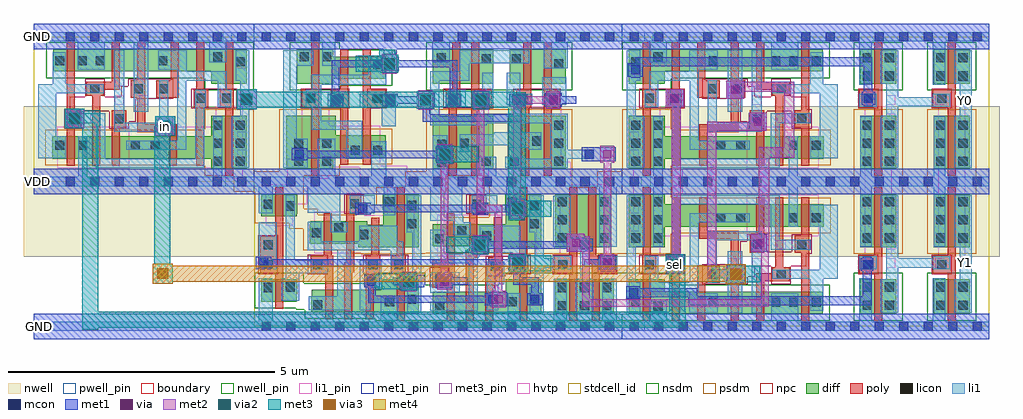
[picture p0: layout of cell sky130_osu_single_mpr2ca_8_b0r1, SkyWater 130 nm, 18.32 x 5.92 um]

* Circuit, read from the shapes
.subckt sky130_osu_single_mpr2ca_8_b0r1 GND VDD VNB VPB Y0 Y1 in sel
XM1 GND sel n1 VNB sky130_fd_pr__nfet_01v8 w=0.42 l=0.15
XM2 n2 n1 GND VNB sky130_fd_pr__nfet_01v8 w=0.42 l=0.15
XM3 n3 GND n2 VNB sky130_fd_pr__nfet_01v8 w=0.42 l=0.15
XM4 n4 in n3 VNB sky130_fd_pr__nfet_01v8 w=0.42 l=0.15
XM5 GND sel n4 VNB sky130_fd_pr__nfet_01v8 w=0.42 l=0.15
XM6 scs130hd_mpr2ca_8_7/A0 n3 GND VNB sky130_fd_pr__nfet_01v8 w=0.65 l=0.15
XM7 n5 scs130hd_mpr2ca_8_7/R3 GND VNB sky130_fd_pr__nfet_01v8 w=0.42 l=0.15
XM8 GND n6 scs130hd_mpr2ca_8_7/R0 VNB sky130_fd_pr__nfet_01v8 w=0.65 l=0.15
XM9 n7 n5 n8 VNB sky130_fd_pr__nfet_01v8 w=0.42 l=0.15
XM10 n9 GND GND VNB sky130_fd_pr__nfet_01v8 w=0.42 l=0.15
XM11 n10 scs130hd_mpr2ca_8_7/A0 n7 VNB sky130_fd_pr__nfet_01v8 w=0.42 l=0.15
XM12 n6 scs130hd_mpr2ca_8_7/A0 n9 VNB sky130_fd_pr__nfet_01v8 w=0.42 l=0.15
XM13 GND scs130hd_mpr2ca_8_7/A0 n10 VNB sky130_fd_pr__nfet_01v8 w=0.42 l=0.15
XM14 n11 n8 GND VNB sky130_fd_pr__nfet_01v8 w=0.645 l=0.1512
XM15 n12 scs130hd_mpr2ca_8_7/R0 n13 VNB sky130_fd_pr__nfet_01v8 w=0.42 l=0.15
XM16 n14 GND GND VNB sky130_fd_pr__nfet_01v8 w=0.65 l=0.15
XM17 n15 scs130hd_mpr2ca_8_7/A0 n12 VNB sky130_fd_pr__nfet_01v8 w=0.42 l=0.15
XM18 n16 scs130hd_mpr2ca_8_7/A0 n14 VNB sky130_fd_pr__nfet_01v8 w=0.65 l=0.15
XM19 GND scs130hd_mpr2ca_8_7/A0 n15 VNB sky130_fd_pr__nfet_01v8 w=0.42 l=0.15
XM20 scs130hd_mpr2ca_8_7/R3 n13 GND VNB sky130_fd_pr__nfet_01v8 w=0.65 l=0.15
XM21 n17 scs130hd_mpr2ca_8_7/A0 n16 VNB sky130_fd_pr__nfet_01v8 w=0.65 l=0.15
XM22 GND scs130hd_mpr2ca_8_7/A0 n17 VNB sky130_fd_pr__nfet_01v8 w=0.65 l=0.15
XM23 sky130_fd_sc_hd__mux2_1_2/A0 scs130hd_mpr2ca_8_7/R3 GND VNB sky130_fd_pr__nfet_01v8 w=0.65 l=0.15
XM24 GND n16 sky130_fd_sc_hd__mux2_1_2/A0 VNB sky130_fd_pr__nfet_01v8 w=0.65 l=0.15
XM25 GND n18 sky130_fd_sc_hd__inv_1_3/A VNB sky130_fd_pr__nfet_01v8 w=0.65 l=0.15
XM26 GND n19 sky130_fd_sc_hd__inv_1_5/A VNB sky130_fd_pr__nfet_01v8 w=0.65 l=0.15
XM27 n20 sel GND VNB sky130_fd_pr__nfet_01v8 w=0.42 l=0.15
XM28 n21 sel GND VNB sky130_fd_pr__nfet_01v8 w=0.42 l=0.15
XM29 n18 sky130_fd_sc_hd__mux2_1_2/A0 n20 VNB sky130_fd_pr__nfet_01v8 w=0.42 l=0.15
XM30 n19 in n21 VNB sky130_fd_pr__nfet_01v8 w=0.42 l=0.15
XM31 n22 in n18 VNB sky130_fd_pr__nfet_01v8 w=0.42 l=0.15
XM32 n23 sky130_fd_sc_hd__mux2_1_2/A0 n19 VNB sky130_fd_pr__nfet_01v8 w=0.42 l=0.15
XM33 GND n24 n22 VNB sky130_fd_pr__nfet_01v8 w=0.42 l=0.15
XM34 GND n25 n23 VNB sky130_fd_pr__nfet_01v8 w=0.42 l=0.15
XM35 n24 sel GND VNB sky130_fd_pr__nfet_01v8 w=0.42 l=0.15
XM36 n25 sel GND VNB sky130_fd_pr__nfet_01v8 w=0.42 l=0.15
XM37 sky130_fd_sc_hd__inv_1_6/A sky130_fd_sc_hd__inv_1_3/A GND VNB sky130_fd_pr__nfet_01v8 w=0.65 l=0.15
XM38 sky130_fd_sc_hd__inv_1_4/A sky130_fd_sc_hd__inv_1_5/A GND VNB sky130_fd_pr__nfet_01v8 w=0.65 l=0.15
XM39 Y1 sky130_fd_sc_hd__inv_1_6/A GND VNB sky130_fd_pr__nfet_01v8 w=0.65 l=0.15
XM40 Y0 sky130_fd_sc_hd__inv_1_4/A GND VNB sky130_fd_pr__nfet_01v8 w=0.65 l=0.15
XM41 VDD sel n1 VPB sky130_fd_pr__pfet_01v8_hvt w=0.42 l=0.15
XM42 n26 n1 VDD VPB sky130_fd_pr__pfet_01v8_hvt w=0.42 l=0.15
XM43 n3 in n26 VPB sky130_fd_pr__pfet_01v8_hvt w=0.42 l=0.15
XM44 n27 GND n3 VPB sky130_fd_pr__pfet_01v8_hvt w=0.42 l=0.15
XM45 VDD sel n27 VPB sky130_fd_pr__pfet_01v8_hvt w=0.42 l=0.15
XM46 scs130hd_mpr2ca_8_7/A0 n3 VDD VPB sky130_fd_pr__pfet_01v8_hvt w=1 l=0.15
XM47 n5 scs130hd_mpr2ca_8_7/R3 VDD VPB sky130_fd_pr__pfet_01v8_hvt w=0.42 l=0.15
XM48 VDD n6 scs130hd_mpr2ca_8_7/R0 VPB sky130_fd_pr__pfet_01v8_hvt w=1 l=0.15
XM49 VDD n5 n8 VPB sky130_fd_pr__pfet_01v8_hvt w=0.42 l=0.15
XM50 n6 GND VDD VPB sky130_fd_pr__pfet_01v8_hvt w=0.42 l=0.15
XM51 n8 scs130hd_mpr2ca_8_7/A0 VDD VPB sky130_fd_pr__pfet_01v8_hvt w=0.42 l=0.15 m=2
XM52 VDD scs130hd_mpr2ca_8_7/A0 n6 VPB sky130_fd_pr__pfet_01v8_hvt w=0.42 l=0.15
XM53 n11 n8 VDD VPB sky130_fd_pr__pfet_01v8_hvt w=1 l=0.15
XM54 VDD scs130hd_mpr2ca_8_7/R0 n13 VPB sky130_fd_pr__pfet_01v8_hvt w=0.42 l=0.15
XM55 n28 GND VDD VPB sky130_fd_pr__pfet_01v8_hvt w=1 l=0.15
XM56 n13 scs130hd_mpr2ca_8_7/A0 VDD VPB sky130_fd_pr__pfet_01v8_hvt w=0.42 l=0.15 m=2
XM57 VDD scs130hd_mpr2ca_8_7/A0 n28 VPB sky130_fd_pr__pfet_01v8_hvt w=1 l=0.15
XM58 scs130hd_mpr2ca_8_7/R3 n13 VDD VPB sky130_fd_pr__pfet_01v8_hvt w=1 l=0.15
XM59 n28 scs130hd_mpr2ca_8_7/A0 n16 VPB sky130_fd_pr__pfet_01v8_hvt w=1 l=0.15 m=2
XM60 n29 scs130hd_mpr2ca_8_7/R3 sky130_fd_sc_hd__mux2_1_2/A0 VPB sky130_fd_pr__pfet_01v8_hvt w=1 l=0.15
XM61 VDD n16 n29 VPB sky130_fd_pr__pfet_01v8_hvt w=1 l=0.15
XM62 VDD n18 sky130_fd_sc_hd__inv_1_3/A VPB sky130_fd_pr__pfet_01v8_hvt w=1 l=0.15
XM63 VDD n19 sky130_fd_sc_hd__inv_1_5/A VPB sky130_fd_pr__pfet_01v8_hvt w=1 l=0.15
XM64 n30 sel VDD VPB sky130_fd_pr__pfet_01v8_hvt w=0.42 l=0.15
XM65 n31 sel VDD VPB sky130_fd_pr__pfet_01v8_hvt w=0.42 l=0.15
XM66 n18 in n30 VPB sky130_fd_pr__pfet_01v8_hvt w=0.42 l=0.15
XM67 n19 sky130_fd_sc_hd__mux2_1_2/A0 n31 VPB sky130_fd_pr__pfet_01v8_hvt w=0.42 l=0.15
XM68 n32 sky130_fd_sc_hd__mux2_1_2/A0 n18 VPB sky130_fd_pr__pfet_01v8_hvt w=0.42 l=0.15
XM69 n33 in n19 VPB sky130_fd_pr__pfet_01v8_hvt w=0.42 l=0.15
XM70 VDD n24 n32 VPB sky130_fd_pr__pfet_01v8_hvt w=0.42 l=0.15
XM71 VDD n25 n33 VPB sky130_fd_pr__pfet_01v8_hvt w=0.42 l=0.15
XM72 n24 sel VDD VPB sky130_fd_pr__pfet_01v8_hvt w=0.42 l=0.15
XM73 n25 sel VDD VPB sky130_fd_pr__pfet_01v8_hvt w=0.42 l=0.15
XM74 sky130_fd_sc_hd__inv_1_6/A sky130_fd_sc_hd__inv_1_3/A VDD VPB sky130_fd_pr__pfet_01v8_hvt w=1 l=0.15
XM75 sky130_fd_sc_hd__inv_1_4/A sky130_fd_sc_hd__inv_1_5/A VDD VPB sky130_fd_pr__pfet_01v8_hvt w=1 l=0.15
XM76 Y1 sky130_fd_sc_hd__inv_1_6/A VDD VPB sky130_fd_pr__pfet_01v8_hvt w=1 l=0.15
XM77 Y0 sky130_fd_sc_hd__inv_1_4/A VDD VPB sky130_fd_pr__pfet_01v8_hvt w=1 l=0.15
.ends

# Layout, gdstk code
from math import pi, radians
import gdstk
lib = gdstk.Library(unit=1e-6, precision=1e-09)
def R(c, l, rs):  # rectangles x0, y0, x1, y1
    for r in rs: c.add(gdstk.rectangle(r[:2], r[2:], *l))
def A(c, l, x, y, w, h, nx, ny, dx, dy):  # array of equal rectangles
    R(c, l, [(x+i*dx, y+j*dy, x+i*dx+w, y+j*dy+h) for i in range(nx) for j in range(ny)])
nwell_pin = (64, 16)
nwell = (64, 20)
diff = (65, 20)
poly = (66, 20)
licon = (66, 44)
li1_pin = (67, 16)
li1 = (67, 20)
mcon = (67, 44)
met1_pin = (68, 16)
met1 = (68, 20)
via = (68, 44)
met2 = (69, 20)
via2 = (69, 44)
met3_pin = (70, 16)
met3 = (70, 20)
via3 = (70, 44)
met4 = (71, 20)
hvtp = (78, 44)
stdcell_id = (81, 4)
nsdm = (93, 44)
psdm = (94, 20)
npc = (95, 20)
pwell_pin = (122, 16)
boundary = (235, 4)

sky130_fd_sc_hd__mux2_1 = lib.new_cell('sky130_fd_sc_hd__mux2_1')
R(sky130_fd_sc_hd__mux2_1, nwell_pin, [(0.37,2.635,0.54,2.805), (0.37,2.635,0.54,2.805)])
R(sky130_fd_sc_hd__mux2_1, nwell, [(-0.19,1.305,4.33,2.91), (-0.19,1.305,4.33,2.91)])
R(sky130_fd_sc_hd__mux2_1, diff, [(0.135,0.235,3.775,0.655), (0.135,0.235,3.775,0.655), (0.135,0.655,0.805,0.885), (0.135,0.655,0.805,0.885), (0.135,1.485,0.805,1.87), (0.135,1.485,0.805,1.87), (0.135,1.87,3.795,2.29), (0.135,1.87,3.795,2.29), (0.135,2.29,0.805,2.485), (0.135,2.29,0.805,2.485)])
R(sky130_fd_sc_hd__mux2_1, poly, [(0.395,0.105,0.545,0.995), (0.395,0.105,0.545,0.995), (0.94,0.105,1.09,0.995), (0.94,0.105,1.09,0.995), (1.42,0.105,1.57,0.815), (1.42,0.105,1.57,0.815), (2.045,0.105,2.195,0.815), (2.045,0.105,2.195,0.815), (2.525,0.105,2.675,0.845), (2.525,0.105,2.675,0.845), (3.365,0.105,3.515,1.38), (3.365,0.105,3.515,1.38), (1.42,0.815,1.835,1.145), (1.42,0.815,1.835,1.145), (2.045,0.815,2.315,1.145), (2.045,0.815,2.315,1.145), (2.525,0.845,3.155,0.995), (2.525,0.845,3.155,0.995), (0.38,0.995,0.65,1.325), (0.38,0.995,0.65,1.325), (0.86,0.995,1.13,1.325), (0.86,0.995,1.13,1.325), (2.825,0.995,3.155,1.115), (2.825,0.995,3.155,1.115), (2.885,1.115,3.035,2.42), (2.885,1.115,3.035,2.42), (2.045,1.145,2.195,1.645), (2.045,1.145,2.195,1.645), (0.395,1.325,0.545,2.615), (0.395,1.325,0.545,2.615), (0.94,1.325,1.09,2.42), (0.94,1.325,1.09,2.42), (2.405,1.38,2.675,1.71), (2.405,1.38,2.675,1.71), (3.245,1.38,3.515,1.71), (3.245,1.38,3.515,1.71), (1.455,1.645,2.195,1.795), (1.455,1.645,2.195,1.795), (2.525,1.71,2.675,2.42), (2.525,1.71,2.675,2.42), (3.365,1.71,3.515,2.42), (3.365,1.71,3.515,2.42), (1.455,1.795,1.605,2.42), (1.455,1.795,1.605,2.42)])
R(sky130_fd_sc_hd__mux2_1, licon, [(0.595,0.295,0.765,0.465), (0.595,0.295,0.765,0.465), (1.63,0.37,1.8,0.54), (1.63,0.37,1.8,0.54), (2.805,0.37,2.975,0.54), (2.805,0.37,2.975,0.54), (3.145,0.37,3.315,0.54), (3.145,0.37,3.315,0.54), (3.565,0.37,3.735,0.54), (3.565,0.37,3.735,0.54), (0.175,0.39,0.345,0.56), (0.175,0.39,0.345,0.56), (1.615,0.895,1.785,1.065), (1.615,0.895,1.785,1.065), (2.095,0.895,2.265,1.065), (2.095,0.895,2.265,1.065), (2.905,0.895,3.075,1.065), (2.905,0.895,3.075,1.065), (0.43,1.075,0.6,1.245), (0.43,1.075,0.6,1.245), (0.91,1.075,1.08,1.245), (0.91,1.075,1.08,1.245), (2.455,1.46,2.625,1.63), (2.455,1.46,2.625,1.63), (3.295,1.46,3.465,1.63), (3.295,1.46,3.465,1.63), (0.175,1.575,0.345,1.745), (0.175,1.575,0.345,1.745), (0.595,1.575,0.765,1.745), (0.595,1.575,0.765,1.745), (0.175,1.915,0.345,2.085), (0.175,1.915,0.345,2.085), (0.595,1.915,0.765,2.085), (0.595,1.915,0.765,2.085), (1.775,1.955,1.945,2.125), (1.775,1.955,1.945,2.125), (2.15,1.955,2.32,2.125), (2.15,1.955,2.32,2.125), (3.135,1.955,3.305,2.125), (3.135,1.955,3.305,2.125), (3.565,1.955,3.735,2.125), (3.565,1.955,3.735,2.125), (0.175,2.255,0.345,2.425), (0.175,2.255,0.345,2.425), (0.595,2.255,0.765,2.425), (0.595,2.255,0.765,2.425)])
R(sky130_fd_sc_hd__mux2_1, li1_pin, [(0.15,0.425,0.32,0.595), (0.15,0.425,0.32,0.595), (2.45,0.765,2.62,0.935), (2.45,0.765,2.62,0.935), (1.99,1.105,2.16,1.275), (1.99,1.105,2.16,1.275), (2.45,1.105,2.62,1.275), (2.45,1.105,2.62,1.275), (2.91,1.445,3.08,1.615), (2.91,1.445,3.08,1.615), (3.37,1.445,3.54,1.615), (3.37,1.445,3.54,1.615), (0.15,1.785,0.32,1.955), (0.15,1.785,0.32,1.955), (0.15,2.125,0.32,2.295), (0.15,2.125,0.32,2.295)])
R(sky130_fd_sc_hd__mux2_1, li1, [(0,-0.085,4.14,0.085), (0,-0.085,4.14,0.085), (0.515,0.085,0.845,0.485), (0.515,0.085,0.845,0.485), (2.805,0.085,3.315,0.62), (2.805,0.085,3.315,0.62), (0.09,0.255,0.345,0.825), (0.09,0.255,0.345,0.825), (1.27,0.255,1.8,0.62), (1.27,0.255,1.8,0.62), (1.99,0.255,2.265,1.415), (1.99,0.255,2.265,1.415), (2.435,0.255,2.625,1.615), (2.435,0.255,2.625,1.615), (3.535,0.29,3.78,0.895), (3.535,0.29,3.78,0.895), (1.27,0.62,1.445,0.655), (1.27,0.62,1.445,0.655), (0.515,0.655,1.445,0.825), (0.515,0.655,1.445,0.825), (1.615,0.815,1.785,1.615), (1.615,0.815,1.785,1.615), (0.09,0.825,0.26,1.495), (0.09,0.825,0.26,1.495), (0.515,0.825,0.685,0.995), (0.515,0.825,0.685,0.995), (1.275,0.825,1.445,1.955), (1.275,0.825,1.445,1.955), (2.825,0.895,4.055,1.065), (2.825,0.895,4.055,1.065), (0.43,0.995,0.685,1.325), (0.43,0.995,0.685,1.325), (0.91,0.995,1.105,1.325), (0.91,0.995,1.105,1.325), (3.715,1.065,4.055,1.875), (3.715,1.065,4.055,1.875), (0.935,1.325,1.105,2.295), (0.935,1.325,1.105,2.295), (2.795,1.44,3.545,1.63), (2.795,1.44,3.545,1.63), (0.09,1.495,0.425,2.465), (0.09,1.495,0.425,2.465), (0.595,1.495,0.765,2.635), (0.595,1.495,0.765,2.635), (1.615,1.615,2.625,1.785), (1.615,1.615,2.625,1.785), (2.795,1.63,2.965,2.295), (2.795,1.63,2.965,2.295), (3.135,1.875,3.305,2.635), (3.135,1.875,3.305,2.635), (3.54,1.875,4.055,2.285), (3.54,1.875,4.055,2.285), (1.275,1.955,2.4,2.125), (1.275,1.955,2.4,2.125), (0.935,2.295,2.965,2.465), (0.935,2.295,2.965,2.465), (0,2.635,4.14,2.805), (0,2.635,4.14,2.805)])
R(sky130_fd_sc_hd__mux2_1, mcon, [(0.145,-0.085,0.315,0.085), (0.145,-0.085,0.315,0.085), (0.605,-0.085,0.775,0.085), (0.605,-0.085,0.775,0.085), (1.065,-0.085,1.235,0.085), (1.065,-0.085,1.235,0.085), (1.525,-0.085,1.695,0.085), (1.525,-0.085,1.695,0.085), (1.985,-0.085,2.155,0.085), (1.985,-0.085,2.155,0.085), (2.445,-0.085,2.615,0.085), (2.445,-0.085,2.615,0.085), (2.905,-0.085,3.075,0.085), (2.905,-0.085,3.075,0.085), (3.365,-0.085,3.535,0.085), (3.365,-0.085,3.535,0.085), (3.825,-0.085,3.995,0.085), (3.825,-0.085,3.995,0.085), (0.145,2.635,0.315,2.805), (0.145,2.635,0.315,2.805), (0.605,2.635,0.775,2.805), (0.605,2.635,0.775,2.805), (1.065,2.635,1.235,2.805), (1.065,2.635,1.235,2.805), (1.525,2.635,1.695,2.805), (1.525,2.635,1.695,2.805), (1.985,2.635,2.155,2.805), (1.985,2.635,2.155,2.805), (2.445,2.635,2.615,2.805), (2.445,2.635,2.615,2.805), (2.905,2.635,3.075,2.805), (2.905,2.635,3.075,2.805), (3.365,2.635,3.535,2.805), (3.365,2.635,3.535,2.805), (3.825,2.635,3.995,2.805), (3.825,2.635,3.995,2.805)])
R(sky130_fd_sc_hd__mux2_1, met1_pin, [(0,-0.24,4.14,0.24), (0,-0.24,4.14,0.24), (0.15,-0.085,0.32,0.085), (0.15,-0.085,0.32,0.085), (0,2.48,4.14,2.96), (0,2.48,4.14,2.96), (0.15,2.635,0.32,2.805), (0.15,2.635,0.32,2.805)])
R(sky130_fd_sc_hd__mux2_1, met1, [(0,-0.24,4.14,0.24), (0,-0.24,4.14,0.24), (0,2.48,4.14,2.96), (0,2.48,4.14,2.96)])
R(sky130_fd_sc_hd__mux2_1, hvtp, [(0.215,1.305,0.725,1.69), (0.215,1.305,0.725,1.69), (0.215,1.69,1.785,2.47), (0.215,1.69,1.785,2.47), (2.345,1.69,3.695,2.47), (2.345,1.69,3.695,2.47), (0.215,2.47,0.725,2.665), (0.215,2.47,0.725,2.665)])
R(sky130_fd_sc_hd__mux2_1, stdcell_id, [(0,0,4.14,2.72), (0,0,4.14,2.72)])
R(sky130_fd_sc_hd__mux2_1, nsdm, [(0.01,0.11,3.9,0.78), (0.01,0.11,3.9,0.78), (0.01,0.78,0.93,1.01), (0.01,0.78,0.93,1.01)])
R(sky130_fd_sc_hd__mux2_1, psdm, [(0.01,1.36,0.93,1.745), (0.01,1.36,0.93,1.745), (0.01,1.745,3.92,2.415), (0.01,1.745,3.92,2.415), (0.01,2.415,0.93,2.61), (0.01,2.415,0.93,2.61)])
R(sky130_fd_sc_hd__mux2_1, npc, [(1.515,0.795,2.365,0.93), (1.515,0.795,2.365,0.93), (2.805,0.795,3.175,1.125), (2.805,0.795,3.175,1.125), (1.515,0.93,2.495,1.125), (1.515,0.93,2.495,1.125), (0.33,0.975,1.18,1.345), (0.33,0.975,1.18,1.345), (1.515,1.125,3.465,1.165), (1.515,1.125,3.465,1.165), (2.225,1.165,3.465,1.36), (2.225,1.165,3.465,1.36), (2.225,1.36,3.565,1.4), (2.225,1.36,3.565,1.4), (2.225,1.4,2.725,1.595), (2.225,1.4,2.725,1.595), (3.195,1.4,3.565,1.73), (3.195,1.4,3.565,1.73), (2.355,1.595,2.725,1.73), (2.355,1.595,2.725,1.73)])
R(sky130_fd_sc_hd__mux2_1, pwell_pin, [(0.42,-0.085,0.59,0.085), (0.42,-0.085,0.59,0.085)])
R(sky130_fd_sc_hd__mux2_1, boundary, [(0,0,4.14,2.72), (0,0,4.14,2.72)])
sky130_fd_sc_hd__mux2_1.add(gdstk.Label('A0', (2.075,1.19), layer=67, texttype=5))
sky130_fd_sc_hd__mux2_1.add(gdstk.Label('A1', (2.535,1.19), layer=67, texttype=5))
sky130_fd_sc_hd__mux2_1.add(gdstk.Label('A1', (2.535,0.85), layer=67, texttype=5))
sky130_fd_sc_hd__mux2_1.add(gdstk.Label('S', (2.995,1.53), layer=67, texttype=5))
sky130_fd_sc_hd__mux2_1.add(gdstk.Label('S', (3.455,1.53), layer=67, texttype=5))
sky130_fd_sc_hd__mux2_1.add(gdstk.Label('VGND', (2.07,0), layer=68, texttype=5))
sky130_fd_sc_hd__mux2_1.add(gdstk.Label('VGND', (0.235,0), layer=68, texttype=5))
sky130_fd_sc_hd__mux2_1.add(gdstk.Label('VNB', (0.505,0), layer=64, texttype=59))
sky130_fd_sc_hd__mux2_1.add(gdstk.Label('VPB', (0.455,2.72), layer=64, texttype=5))
sky130_fd_sc_hd__mux2_1.add(gdstk.Label('VPWR', (2.07,2.72), layer=68, texttype=5))
sky130_fd_sc_hd__mux2_1.add(gdstk.Label('VPWR', (0.235,2.72), layer=68, texttype=5))
sky130_fd_sc_hd__mux2_1.add(gdstk.Label('X', (0.235,2.21), layer=67, texttype=5))
sky130_fd_sc_hd__mux2_1.add(gdstk.Label('X', (0.235,1.87), layer=67, texttype=5))
sky130_fd_sc_hd__mux2_1.add(gdstk.Label('X', (0.235,0.51), layer=67, texttype=5))
sky130_fd_sc_hd__mux2_1.add(gdstk.Label('A0', (2.075,1.19), layer=67, texttype=5))
sky130_fd_sc_hd__mux2_1.add(gdstk.Label('A1', (2.535,1.19), layer=67, texttype=5))
sky130_fd_sc_hd__mux2_1.add(gdstk.Label('A1', (2.535,0.85), layer=67, texttype=5))
sky130_fd_sc_hd__mux2_1.add(gdstk.Label('S', (2.995,1.53), layer=67, texttype=5))
sky130_fd_sc_hd__mux2_1.add(gdstk.Label('S', (3.455,1.53), layer=67, texttype=5))
sky130_fd_sc_hd__mux2_1.add(gdstk.Label('VGND', (2.07,0), layer=68, texttype=5))
sky130_fd_sc_hd__mux2_1.add(gdstk.Label('VGND', (0.235,0), layer=68, texttype=5))
sky130_fd_sc_hd__mux2_1.add(gdstk.Label('VNB', (0.505,0), layer=64, texttype=59))
sky130_fd_sc_hd__mux2_1.add(gdstk.Label('VPB', (0.455,2.72), layer=64, texttype=5))
sky130_fd_sc_hd__mux2_1.add(gdstk.Label('VPWR', (2.07,2.72), layer=68, texttype=5))
sky130_fd_sc_hd__mux2_1.add(gdstk.Label('VPWR', (0.235,2.72), layer=68, texttype=5))
sky130_fd_sc_hd__mux2_1.add(gdstk.Label('X', (0.235,2.21), layer=67, texttype=5))
sky130_fd_sc_hd__mux2_1.add(gdstk.Label('X', (0.235,1.87), layer=67, texttype=5))
sky130_fd_sc_hd__mux2_1.add(gdstk.Label('X', (0.235,0.51), layer=67, texttype=5))

sky130_fd_sc_hd__inv_1 = lib.new_cell('sky130_fd_sc_hd__inv_1')
R(sky130_fd_sc_hd__inv_1, nwell_pin, [(0.145,2.635,0.315,2.805), (0.145,2.635,0.315,2.805)])
R(sky130_fd_sc_hd__inv_1, nwell, [(-0.19,1.305,1.57,2.91), (-0.19,1.305,1.57,2.91)])
R(sky130_fd_sc_hd__inv_1, diff, [(0.34,0.235,1.01,0.885), (0.34,0.235,1.01,0.885), (0.34,1.485,1.01,2.485), (0.34,1.485,1.01,2.485)])
R(sky130_fd_sc_hd__inv_1, poly, [(0.6,0.105,0.75,0.995), (0.6,0.105,0.75,0.995), (0.32,0.995,0.75,1.325), (0.32,0.995,0.75,1.325), (0.6,1.325,0.75,2.615), (0.6,1.325,0.75,2.615)])
R(sky130_fd_sc_hd__inv_1, licon, [(0.38,0.315,0.55,0.485), (0.38,0.315,0.55,0.485), (0.8,0.315,0.97,0.485), (0.8,0.315,0.97,0.485), (0.38,0.655,0.55,0.825), (0.38,0.655,0.55,0.825), (0.8,0.655,0.97,0.825), (0.8,0.655,0.97,0.825), (0.4,1.075,0.57,1.245), (0.4,1.075,0.57,1.245), (0.38,1.575,0.55,1.745), (0.38,1.575,0.55,1.745), (0.8,1.575,0.97,1.745), (0.8,1.575,0.97,1.745), (0.38,1.915,0.55,2.085), (0.38,1.915,0.55,2.085), (0.8,1.915,0.97,2.085), (0.8,1.915,0.97,2.085), (0.38,2.255,0.55,2.425), (0.38,2.255,0.55,2.425), (0.8,2.255,0.97,2.425), (0.8,2.255,0.97,2.425)])
R(sky130_fd_sc_hd__inv_1, li1_pin, [(0.36,1.105,0.53,1.275), (0.36,1.105,0.53,1.275), (0.82,1.105,0.99,1.275), (0.82,1.105,0.99,1.275), (0.82,1.445,0.99,1.615), (0.82,1.445,0.99,1.615)])
R(sky130_fd_sc_hd__inv_1, li1, [(0,-0.085,1.38,0.085), (0,-0.085,1.38,0.085), (0.32,0.085,0.55,0.905), (0.32,0.085,0.55,0.905), (0.72,0.255,1.05,0.885), (0.72,0.255,1.05,0.885), (0.82,0.885,1.05,1.485), (0.82,0.885,1.05,1.485), (0.32,1.075,0.65,1.315), (0.32,1.075,0.65,1.315), (0.72,1.485,1.05,2.465), (0.72,1.485,1.05,2.465), (0.34,1.495,0.55,2.635), (0.34,1.495,0.55,2.635), (0,2.635,1.38,2.805), (0,2.635,1.38,2.805)])
R(sky130_fd_sc_hd__inv_1, mcon, [(0.145,-0.085,0.315,0.085), (0.145,-0.085,0.315,0.085), (0.605,-0.085,0.775,0.085), (0.605,-0.085,0.775,0.085), (1.065,-0.085,1.235,0.085), (1.065,-0.085,1.235,0.085), (0.145,2.635,0.315,2.805), (0.145,2.635,0.315,2.805), (0.605,2.635,0.775,2.805), (0.605,2.635,0.775,2.805), (1.065,2.635,1.235,2.805), (1.065,2.635,1.235,2.805)])
R(sky130_fd_sc_hd__inv_1, met1_pin, [(0,-0.24,1.38,0.24), (0,-0.24,1.38,0.24), (0.145,-0.085,0.315,0.085), (0.145,-0.085,0.315,0.085), (0,2.48,1.38,2.96), (0,2.48,1.38,2.96), (0.145,2.635,0.315,2.805), (0.145,2.635,0.315,2.805)])
R(sky130_fd_sc_hd__inv_1, met1, [(0,-0.24,1.38,0.24), (0,-0.24,1.38,0.24), (0,2.48,1.38,2.96), (0,2.48,1.38,2.96)])
R(sky130_fd_sc_hd__inv_1, hvtp, [(0.42,1.305,0.93,2.665), (0.42,1.305,0.93,2.665)])
R(sky130_fd_sc_hd__inv_1, stdcell_id, [(0,0,1.38,2.72), (0,0,1.38,2.72)])
R(sky130_fd_sc_hd__inv_1, nsdm, [(0.215,0.11,1.135,1.01), (0.215,0.11,1.135,1.01)])
R(sky130_fd_sc_hd__inv_1, psdm, [(0.215,1.36,1.135,2.61), (0.215,1.36,1.135,2.61)])
R(sky130_fd_sc_hd__inv_1, npc, [(0.3,0.975,0.67,1.345), (0.3,0.975,0.67,1.345)])
R(sky130_fd_sc_hd__inv_1, pwell_pin, [(0.145,-0.085,0.315,0.085), (0.145,-0.085,0.315,0.085)])
R(sky130_fd_sc_hd__inv_1, boundary, [(0,0,1.38,2.72), (0,0,1.38,2.72)])
sky130_fd_sc_hd__inv_1.add(gdstk.Label('A', (0.445,1.19), layer=67, texttype=5))
sky130_fd_sc_hd__inv_1.add(gdstk.Label('VGND', (0.69,0), layer=68, texttype=5))
sky130_fd_sc_hd__inv_1.add(gdstk.Label('VGND', (0.23,0), layer=68, texttype=5))
sky130_fd_sc_hd__inv_1.add(gdstk.Label('VNB', (0.23,0), layer=64, texttype=59))
sky130_fd_sc_hd__inv_1.add(gdstk.Label('VPB', (0.23,2.72), layer=64, texttype=5))
sky130_fd_sc_hd__inv_1.add(gdstk.Label('VPWR', (0.69,2.72), layer=68, texttype=5))
sky130_fd_sc_hd__inv_1.add(gdstk.Label('VPWR', (0.23,2.72), layer=68, texttype=5))
sky130_fd_sc_hd__inv_1.add(gdstk.Label('Y', (0.905,1.19), layer=67, texttype=5))
sky130_fd_sc_hd__inv_1.add(gdstk.Label('Y', (0.905,1.53), layer=67, texttype=5))
sky130_fd_sc_hd__inv_1.add(gdstk.Label('A', (0.445,1.19), layer=67, texttype=5))
sky130_fd_sc_hd__inv_1.add(gdstk.Label('VGND', (0.69,0), layer=68, texttype=5))
sky130_fd_sc_hd__inv_1.add(gdstk.Label('VGND', (0.23,0), layer=68, texttype=5))
sky130_fd_sc_hd__inv_1.add(gdstk.Label('VNB', (0.23,0), layer=64, texttype=59))
sky130_fd_sc_hd__inv_1.add(gdstk.Label('VPB', (0.23,2.72), layer=64, texttype=5))
sky130_fd_sc_hd__inv_1.add(gdstk.Label('VPWR', (0.69,2.72), layer=68, texttype=5))
sky130_fd_sc_hd__inv_1.add(gdstk.Label('VPWR', (0.23,2.72), layer=68, texttype=5))
sky130_fd_sc_hd__inv_1.add(gdstk.Label('Y', (0.905,1.19), layer=67, texttype=5))
sky130_fd_sc_hd__inv_1.add(gdstk.Label('Y', (0.905,1.53), layer=67, texttype=5))

scs130hd_mpr2ca_8 = lib.new_cell('scs130hd_mpr2ca_8')
R(scs130hd_mpr2ca_8, nwell, [(-0.19,1.305,7.09,4.135)])
R(scs130hd_mpr2ca_8, diff, [(2.41,0.235,3.085,0.265), (3.355,0.235,5.385,0.655), (5.655,0.235,6.745,0.885), (1.07,0.265,3.085,0.545), (0.135,0.465,0.795,0.6), (1.075,0.545,3.085,0.55), (1.08,0.55,3.085,0.685), (0.135,0.6,0.805,0.885), (4.725,0.655,5.385,0.885), (2.395,0.685,3.085,0.88), (2.395,0.88,2.625,0.885), (2.675,0.88,2.825,0.885), (3.08,0.88,3.085,0.885), (1.95,1.485,3.085,1.555), (4.725,1.485,5.385,1.5), (5.655,1.485,6.685,2.485), (3.355,1.5,5.385,1.92), (1.045,1.555,3.085,1.905), (1.055,1.905,2.125,1.975), (2.425,1.905,3.085,2.19), (4.725,1.92,5.385,2.19), (0.135,2.065,0.795,2.115), (0.135,2.115,0.805,2.485), (2.415,2.19,3.085,2.485), (4.715,2.19,5.385,2.485), (0.6,2.955,1.485,3.165), (3.355,2.955,4.485,3.955), (4.755,2.955,5.845,3.955), (0.6,3.165,2.465,3.585), (0.6,3.585,1.535,3.955), (0.795,4.555,1.485,4.645), (3.355,4.555,4.485,5.205), (4.795,4.555,5.845,5.205), (0.795,4.645,2.465,5.065), (0.795,5.065,1.485,5.205)])
R(scs130hd_mpr2ca_8, poly, [(2.675,0.105,2.825,0.99), (3.615,0.105,3.765,0.73), (3.975,0.105,4.125,1.285), (4.335,0.105,4.485,0.73), (4.975,0.105,5.125,0.995), (5.915,0.105,6.065,0.995), (6.335,0.105,6.485,0.995), (1.33,0.135,1.48,0.995), (1.69,0.135,1.84,1.015), (2.095,0.135,2.245,0.995), (0.395,0.335,0.545,0.995), (3.345,0.73,3.765,1.255), (4.335,0.73,4.52,0.85), (4.335,0.85,4.545,0.965), (4.335,0.965,4.665,1.13), (2.625,0.99,2.845,0.995), (0.11,0.995,0.545,1.695), (1.06,0.995,1.48,1.325), (2.095,0.995,2.365,1.325), (2.575,0.995,2.845,1.055), (4.875,0.995,5.145,1.325), (5.63,0.995,6.065,1.325), (6.335,0.995,6.795,1.175), (1.69,1.015,1.875,1.2), (2.575,1.055,2.625,1.06), (2.575,1.06,2.845,1.325), (4.395,1.13,4.665,1.295), (6.275,1.175,6.795,1.325), (1.725,1.2,1.875,2.135), (3.615,1.255,3.765,2.125), (3.975,1.285,4.185,1.41), (4.5,1.295,4.65,2.05), (1.305,1.325,1.455,2.125), (2.2,1.325,2.35,2.035), (2.675,1.325,2.825,2.615), (4.975,1.325,5.125,2.615), (5.915,1.325,6.065,2.615), (6.275,1.325,6.425,2.615), (4.035,1.41,4.185,2.13), (0.395,1.695,0.545,2.615), (4.035,2.13,4.305,2.46), (1.725,2.135,2.01,2.5), (1.075,2.825,1.225,4.115), (3.655,2.825,3.805,4.115), (4.075,2.825,4.225,4.115), (5.015,2.825,5.165,4.115), (5.435,2.825,5.585,4.115), (1.615,3.035,1.765,4.115), (2.035,3.035,2.185,4.115), (0.895,4.115,1.225,4.445), (1.435,4.115,1.765,4.445), (2.035,4.115,2.47,4.445), (3.595,4.115,3.865,4.445), (4.075,4.115,4.46,4.445), (4.915,4.115,5.205,4.445), (5.435,4.115,5.705,4.445), (1.075,4.445,1.225,5.335), (1.615,4.445,1.765,5.195), (2.035,4.445,2.185,5.195), (3.715,4.445,3.865,5.335), (4.075,4.445,4.225,5.335), (5.055,4.445,5.205,5.335), (5.435,4.445,5.585,5.335)])
A(scs130hd_mpr2ca_8, licon, 5.695, 0.305, 0.17, 0.17, 3, 2, 0.42, 0.34)
A(scs130hd_mpr2ca_8, licon, 5.695, 1.575, 0.17, 0.17, 1, 3, 0, 0.34)
A(scs130hd_mpr2ca_8, licon, 6.475, 1.575, 0.17, 0.17, 1, 3, 0, 0.34)
A(scs130hd_mpr2ca_8, licon, 5.635, 3.015, 0.17, 0.17, 1, 3, 0, 0.34)
R(scs130hd_mpr2ca_8, licon, [(3.395,0.295,3.565,0.465), (1.11,0.325,1.28,0.495), (2.455,0.375,2.625,0.545), (4.755,0.375,4.925,0.545), (2.875,0.425,3.045,0.595), (5.175,0.425,5.345,0.595), (0.175,0.645,0.345,0.815), (0.595,0.655,0.765,0.825), (3.395,0.845,3.565,1.015), (4.445,1.045,4.615,1.215), (0.175,1.075,0.345,1.245), (1.11,1.075,1.28,1.245), (2.145,1.075,2.315,1.245), (2.625,1.075,2.795,1.245), (4.925,1.075,5.095,1.245), (5.705,1.075,5.875,1.245), (6.545,1.075,6.715,1.245), (0.175,1.445,0.345,1.615), (3.395,1.56,3.565,1.73), (4.28,1.615,4.45,1.785), (1.975,1.64,2.145,1.81), (1.085,1.675,1.255,1.845), (3.815,1.71,3.985,1.88), (1.505,1.765,1.675,1.935), (2.875,1.845,3.045,2.015), (5.175,1.845,5.345,2.015), (0.595,2.175,0.765,2.345), (2.875,2.185,3.045,2.355), (5.175,2.185,5.345,2.355), (0.175,2.205,0.345,2.375), (4.085,2.21,4.255,2.38), (1.79,2.215,1.96,2.385), (2.455,2.255,2.625,2.425), (4.755,2.255,4.925,2.425), (3.435,2.995,3.605,3.165), (0.755,3.015,0.925,3.185), (1.275,3.015,1.445,3.185), (4.275,3.015,4.445,3.185), (4.795,3.015,4.965,3.185), (1.815,3.225,1.985,3.395), (2.235,3.225,2.405,3.395), (3.435,3.335,3.605,3.505), (0.755,3.355,0.925,3.525), (1.275,3.355,1.445,3.525), (3.855,3.355,4.025,3.525), (5.215,3.395,5.385,3.565), (0.975,4.195,1.145,4.365), (1.515,4.195,1.685,4.365), (2.22,4.195,2.39,4.365), (3.645,4.195,3.815,4.365), (4.22,4.195,4.39,4.365), (4.965,4.195,5.135,4.365), (5.485,4.195,5.655,4.365), (2.235,4.835,2.405,5.005), (5.635,4.845,5.805,5.015), (4.275,4.935,4.445,5.105), (4.835,4.935,5.005,5.105), (3.425,4.955,3.595,5.125), (0.855,4.975,1.025,5.145), (1.275,4.975,1.445,5.145)])
A(scs130hd_mpr2ca_8, li1, 0, -0.085, 6.9, 0.17, 1, 3, 0, 2.72)
R(scs130hd_mpr2ca_8, li1, [(0.085,0.085,0.345,0.905), (2.375,0.085,2.705,0.545), (4.755,0.085,5.005,0.625), (5.625,0.085,5.865,0.895), (6.535,0.085,6.805,0.895), (2.875,0.255,3.135,0.73), (5.175,0.255,5.435,0.735), (6.035,0.255,6.365,0.895), (3.305,0.295,4.195,0.465), (1.025,0.305,1.815,0.57), (1.985,0.305,2.185,0.725), (4.365,0.305,4.585,0.79), (4.025,0.465,4.195,1.19), (0.515,0.485,0.845,0.905), (1.56,0.57,1.815,1.425), (3.305,0.635,3.855,1.02), (1.985,0.725,2.395,1.245), (2.965,0.73,3.135,1.055), (5.265,0.735,5.435,1.105), (4.365,0.79,4.695,1.215), (6.125,0.895,6.295,1.495), (0.595,0.905,0.845,0.995), (2.625,0.99,2.795,0.995), (4.865,0.99,5.095,1.385), (0.595,0.995,1.39,1.245), (2.565,0.995,2.795,1.055), (2.565,1.055,2.625,1.06), (3.08,1.055,3.135,1.06), (2.565,1.06,2.795,1.425), (2.965,1.06,3.135,1.765), (0.085,1.075,0.425,1.955), (5.605,1.075,5.955,1.105), (6.465,1.075,6.815,1.325), (5.265,1.105,5.955,1.275), (3.305,1.19,4.195,1.26), (0.595,1.245,0.765,2.465), (3.305,1.26,4.2,1.285), (5.265,1.275,5.435,1.765), (5.605,1.275,5.955,1.325), (3.305,1.285,4.21,1.3), (3.305,1.3,4.215,1.315), (3.305,1.315,4.225,1.32), (3.305,1.32,4.23,1.33), (3.305,1.33,4.235,1.34), (3.305,1.34,4.245,1.345), (3.305,1.345,4.255,1.355), (3.305,1.355,4.265,1.36), (3.305,1.36,3.565,1.81), (3.93,1.36,4.265,1.365), (3.93,1.365,4.28,1.37), (3.93,1.37,4.295,1.38), (3.93,1.38,4.32,1.385), (3.93,1.385,5.095,1.39), (3.96,1.39,5.095,1.425), (1.005,1.425,2.795,1.595), (3.995,1.425,5.095,1.45), (4.025,1.45,5.095,1.48), (4.045,1.48,5.095,1.51), (5.615,1.495,6.295,1.665), (6.475,1.495,6.805,2.635), (4.065,1.51,5.095,1.54), (4.135,1.54,5.095,1.55), (4.16,1.55,5.095,1.56), (4.18,1.56,5.095,1.575), (4.2,1.575,5.095,1.59), (4.205,1.59,4.99,1.6), (1.005,1.595,1.255,1.96), (1.975,1.595,2.69,1.89), (4.22,1.6,4.99,1.635), (4.235,1.635,4.99,1.885), (5.615,1.665,5.945,2.45), (3.735,1.71,4.065,1.955), (1.425,1.765,1.755,1.955), (2.86,1.765,3.135,2.465), (5.16,1.765,5.435,2.465), (1.425,1.955,1.62,2.13), (3.735,1.955,3.92,1.98), (3.305,1.98,3.92,2.08), (3.305,2.08,3.91,2.635), (2.435,2.09,2.65,2.635), (4.735,2.09,4.99,2.635), (0.085,2.125,0.345,2.635), (1.79,2.125,2.265,2.465), (4.085,2.125,4.565,2.465), (1.005,2.13,1.62,2.635), (1.195,2.805,1.525,3.525), (2.195,2.805,2.475,3.475), (3.355,2.805,3.62,3.585), (4.17,2.805,4.545,3.185), (0.545,2.975,1.005,3.525), (4.715,2.975,5.885,3.145), (1.725,3.145,2.025,3.695), (4.715,3.145,5.045,3.185), (5.555,3.145,6.375,3.315), (3.855,3.275,4.025,3.405), (5.155,3.315,5.385,3.355), (5.555,3.315,5.885,3.815), (4.77,3.355,5.385,3.405), (3.855,3.405,5.385,3.605), (0.545,3.525,0.795,4.895), (4.505,3.605,5.385,3.645), (1.085,3.695,2.025,3.865), (2.395,3.755,2.66,4.115), (3.305,3.775,4.365,3.815), (3.305,3.815,5.885,3.945), (1.085,3.865,1.255,4.115), (3.305,3.945,3.475,4.615), (4.14,3.945,5.885,3.995), (0.965,4.115,1.255,4.445), (1.425,4.115,1.765,4.365), (1.985,4.115,2.66,4.365), (3.645,4.115,3.97,4.445), (4.14,4.165,4.49,4.365), (4.74,4.165,5.215,4.365), (5.405,4.165,5.855,4.675), (4.28,4.365,4.49,4.765), (4.74,4.365,4.99,4.765), (1.085,4.445,1.255,4.535), (1.085,4.535,2.475,4.725), (3.305,4.615,4.035,4.785), (2.145,4.725,2.475,5.085), (3.855,4.785,4.035,4.935), (5.435,4.845,5.885,5.355), (0.545,4.895,1.105,5.185), (1.275,4.895,1.525,5.355), (3.855,4.935,5.16,5.185), (3.345,4.955,3.675,5.355)])
A(scs130hd_mpr2ca_8, mcon, 0.145, -0.085, 0.17, 0.17, 15, 3, 0.46, 2.72)
A(scs130hd_mpr2ca_8, mcon, 4.165, 4.165, 0.17, 0.17, 3, 1, 0.68, 0)
R(scs130hd_mpr2ca_8, mcon, [(4.39,0.425,4.56,0.595), (5.185,0.425,5.355,0.595), (2.125,0.765,2.295,0.935), (3.485,0.765,3.655,0.935), (0.09,1.105,0.26,1.275), (6.545,1.105,6.715,1.275), (6.125,1.445,6.295,1.615), (1.955,2.125,2.125,2.295), (4.165,2.125,4.335,2.295), (0.765,3.145,0.935,3.315), (6.205,3.145,6.375,3.315), (1.445,4.165,1.615,4.335), (2.465,4.165,2.635,4.335), (3.655,4.165,3.825,4.335)])
R(scs130hd_mpr2ca_8, met1_pin, [(2.735,0.68,3.065,1.01)])
A(scs130hd_mpr2ca_8, met1, 0, -0.24, 6.9, 0.48, 1, 3, 0, 2.72)
R(scs130hd_mpr2ca_8, met1, [(4.43,0.38,4.75,0.395), (4.33,0.395,4.75,0.44), (5.125,0.395,5.415,0.625), (2.14,0.44,4.75,0.58), (2.14,0.58,2.28,0.735), (4.33,0.58,4.75,0.625), (4.43,0.625,4.75,0.64), (5.2,0.625,5.34,0.78), (2.73,0.715,3.05,0.73), (3.41,0.72,3.73,0.78), (2.73,0.73,3.08,0.735), (2.065,0.735,2.355,0.965), (2.73,0.735,3.195,0.775), (2.625,0.775,3.195,0.78), (2.615,0.78,3.21,0.915), (3.41,0.78,4.005,0.92), (4.86,0.78,5.34,0.92), (2.615,0.915,2.625,0.92), (2.73,0.915,3.21,0.92), (2.73,0.92,3.195,0.96), (3.41,0.92,3.73,0.98), (4.86,0.92,5,1.06), (2.73,0.96,3.05,0.975), (3.08,0.96,3.195,0.965), (4.77,1.06,5.09,1.12), (6.47,1.06,6.79,1.12), (0.03,1.075,0.32,1.12), (0.03,1.12,5.09,1.26), (6.195,1.12,6.79,1.26), (0.03,1.26,0.32,1.305), (4.77,1.26,5.09,1.32), (6.47,1.26,6.79,1.32), (4.09,1.4,4.41,1.46), (6.065,1.415,6.355,1.46), (4.09,1.46,6.355,1.6), (4.09,1.6,4.41,1.66), (6.065,1.6,6.355,1.645), (4.77,2.08,5.09,2.14), (1.895,2.095,2.185,2.14), (4.105,2.095,4.395,2.14), (1.895,2.14,5.09,2.28), (1.895,2.28,2.185,2.325), (4.105,2.28,4.395,2.325), (4.77,2.28,5.09,2.34), (3.41,3.1,3.73,3.16), (6.145,3.1,6.79,3.36), (0.705,3.115,0.995,3.16), (0.705,3.16,3.73,3.3), (0.705,3.3,0.995,3.345), (3.41,3.3,3.73,3.36), (3.16,3.84,5,3.98), (3.16,3.98,3.3,4.12), (4.86,3.98,5,4.135), (3.07,4.12,3.39,4.18), (4.09,4.12,4.41,4.38), (5.45,4.12,5.77,4.18), (1.385,4.135,1.675,4.365), (2.405,4.135,2.695,4.18), (3.595,4.135,3.885,4.365), (4.785,4.135,5.075,4.365), (2.405,4.18,3.39,4.32), (5.45,4.18,6.045,4.32), (2.405,4.32,2.695,4.365), (3.07,4.32,3.39,4.38), (5.45,4.32,5.77,4.38), (1.46,4.365,1.6,4.86), (3.67,4.365,3.81,4.86), (2.39,4.8,2.71,4.86), (1.46,4.86,3.81,5), (2.39,5,2.71,5.06)])
R(scs130hd_mpr2ca_8, via, [(4.515,0.435,4.665,0.585), (2.815,0.77,2.965,0.92), (3.495,0.775,3.645,0.925), (4.855,1.115,5.005,1.265), (6.555,1.115,6.705,1.265), (4.175,1.455,4.325,1.605), (4.855,2.135,5.005,2.285), (3.495,3.155,3.645,3.305), (6.555,3.155,6.705,3.305), (3.155,4.175,3.305,4.325), (4.175,4.175,4.325,4.325), (5.535,4.175,5.685,4.325), (2.475,4.855,2.625,5.005)])
R(scs130hd_mpr2ca_8, met2, [(4.46,0.35,4.72,0.67), (2.76,0.66,3.04,1.03), (4.52,0.67,4.66,2.14), (3.44,0.69,3.7,1.01), (4.8,1.005,5.08,1.375), (3.5,1.01,3.64,3.045), (6.5,1.03,6.76,1.35), (4.1,1.345,4.38,1.715), (6.56,1.35,6.7,3.07), (4.8,2.025,5.08,2.395), (4.18,2.14,4.66,2.28), (4.18,2.28,4.32,4.065), (4.86,2.395,5,4.18), (3.44,3.045,3.72,3.415), (6.5,3.07,6.76,3.39), (3.075,4.065,3.355,4.09), (4.12,4.065,4.4,4.435), (3.075,4.09,3.36,4.41), (5.48,4.09,5.74,4.18), (4.86,4.18,5.74,4.32), (5.48,4.32,5.74,4.41), (3.075,4.41,3.355,4.435), (2.4,4.745,2.68,5.115)])
R(scs130hd_mpr2ca_8, via2, [(2.8,0.745,3,0.945), (4.84,1.09,5.04,1.29), (4.14,1.43,4.34,1.63), (4.84,2.11,5.04,2.31), (3.48,3.13,3.68,3.33), (3.115,4.15,3.315,4.35), (4.16,4.15,4.36,4.35), (2.44,4.83,2.64,5.03)])
R(scs130hd_mpr2ca_8, met3_pin, [(4.775,1.025,5.105,1.355), (4.075,1.365,4.405,1.695), (4.775,2.045,5.105,2.375), (3.415,3.065,3.745,3.395), (3.05,4.085,3.38,4.415), (4.095,4.085,4.425,4.415), (2.375,4.765,2.705,5.095)])
R(scs130hd_mpr2ca_8, met3, [(2.735,0.68,3.065,0.695), (2.625,0.695,3.065,0.7), (2.265,0.7,3.065,0.995), (2.265,0.995,2.625,1), (2.735,0.995,3.065,1.01), (4.775,1.025,5.105,1.04), (4.775,1.04,5.575,1.34), (4.775,1.34,5.105,1.355), (4.1,1.35,4.4,1.365), (4.075,1.365,4.405,1.38), (3.605,1.38,4.405,1.68), (4.075,1.68,4.405,1.695), (4.78,1.995,5.08,2.045), (4.775,2.045,5.105,2.06), (4.775,2.06,5.575,2.36), (4.775,2.36,5.105,2.375), (3.415,3.065,3.745,3.08), (3.415,3.08,4.215,3.38), (3.415,3.38,3.745,3.395), (4.1,4.08,4.4,4.085), (3.05,4.085,3.38,4.1), (4.095,4.085,4.425,4.1), (2.58,4.1,3.38,4.4), (4.095,4.1,4.895,4.4), (3.05,4.4,3.38,4.415), (4.095,4.4,4.425,4.415), (2.375,4.765,2.705,4.78), (1.905,4.78,2.705,5.08), (2.345,5.08,2.705,5.095), (2.345,5.095,2.645,5.195)])
R(scs130hd_mpr2ca_8, hvtp, [(2.02,1.305,3.005,1.375), (4.795,1.305,5.305,1.32), (5.735,1.305,6.605,2.345), (3.435,1.32,5.305,2.1), (1.125,1.375,3.005,2.085), (0.215,1.885,0.725,2.295), (1.125,2.085,2.055,2.155), (2.495,2.085,3.005,2.635), (4.795,2.1,5.305,2.345), (0.215,2.295,1,2.665), (4.795,2.345,6.605,2.665), (1.985,2.635,3.005,2.665), (0.62,2.665,1,2.775), (1.985,2.665,2.875,2.985), (4.835,2.665,5.94,3.095), (0.62,2.775,1.405,2.985), (3.475,2.775,4.405,4.135), (0.62,2.985,2.875,3.015), (0.62,3.015,2.365,3.145), (4.835,3.095,5.765,4.135), (0.895,3.145,2.365,3.765), (0.895,3.765,1.405,4.135)])
R(scs130hd_mpr2ca_8, stdcell_id, [(0,0,6.9,5.44)])
R(scs130hd_mpr2ca_8, nsdm, [(2.285,0.11,6.87,0.14), (0.945,0.14,6.87,0.315), (0.79,0.315,6.87,0.34), (0.01,0.34,6.87,0.78), (0.01,0.78,3.21,0.81), (4.6,0.78,6.87,1.01), (0.01,0.81,0.93,1.01), (2.27,0.81,3.21,1.01), (0.67,4.43,1.61,4.52), (3.23,4.43,5.97,5.33), (0.67,4.52,2.59,5.19), (0.67,5.19,1.61,5.33)])
R(scs130hd_mpr2ca_8, psdm, [(1.825,1.36,3.21,1.375), (4.6,1.36,6.81,1.375), (1.825,1.375,6.81,1.43), (0.92,1.43,6.81,1.83), (0.66,1.83,6.81,1.94), (0.01,1.94,6.81,2.045), (0.01,2.045,3.565,2.1), (4.41,2.045,6.81,2.61), (0.01,2.1,1.19,2.21), (1.93,2.1,3.565,2.275), (0.01,2.21,0.93,2.61), (2.29,2.275,3.565,2.53), (2.29,2.53,3.605,2.61), (0.475,2.61,0.93,2.83), (2.835,2.61,3.605,2.83), (4.41,2.61,5.97,2.83), (0.475,2.83,1.61,3.04), (2.835,2.83,5.97,2.91), (3.23,2.91,5.97,4.08), (0.475,3.04,2.59,3.71), (0.475,3.71,1.66,4.08)])
R(scs130hd_mpr2ca_8, npc, [(3.295,0.745,3.665,1.115), (4.345,0.945,4.715,0.975), (0.075,0.975,0.445,1.715), (1.01,0.975,1.38,1.345), (2.045,0.975,2.895,1.345), (4.345,0.975,5.195,1.315), (5.605,0.975,5.975,1.345), (6.445,0.975,6.815,1.345), (4.825,1.315,5.195,1.345), (3.985,2.11,4.355,2.48), (1.69,2.115,2.06,2.485), (0.875,4.095,1.785,4.465), (2.12,4.095,2.49,4.465), (3.545,4.095,4.49,4.465), (4.865,4.095,5.755,4.465)])
R(scs130hd_mpr2ca_8, boundary, [(0,0,6.9,5.44)])
scs130hd_mpr2ca_8.add(gdstk.Label('A1', (4.26,4.25), layer=70, texttype=5))
scs130hd_mpr2ca_8.add(gdstk.Label('B1', (4.94,2.21), layer=70, texttype=5))
scs130hd_mpr2ca_8.add(gdstk.Label('R3', (4.94,1.19), layer=70, texttype=5))
scs130hd_mpr2ca_8.add(gdstk.Label('R2', (2.9,0.845), layer=68, texttype=5))
scs130hd_mpr2ca_8.add(gdstk.Label('R1', (4.24,1.53), layer=70, texttype=5))
scs130hd_mpr2ca_8.add(gdstk.Label('R0', (3.58,3.23), layer=70, texttype=5))
scs130hd_mpr2ca_8.add(gdstk.Label('B0', (2.54,4.93), layer=70, texttype=5))
scs130hd_mpr2ca_8.add(gdstk.Label('A0', (3.215,4.25), layer=70, texttype=5))
scs130hd_mpr2ca_8.add(gdstk.Label('vgnd', (0.91,5.435), layer=68, texttype=5))
scs130hd_mpr2ca_8.add(gdstk.Label('vgnd', (0.89,0.01), layer=68, texttype=5))
scs130hd_mpr2ca_8.add(gdstk.Label('vpwr', (0.88,2.72), layer=68, texttype=5))
scs130hd_mpr2ca_8.add(gdstk.Label('VNB', (0.68,-0.01), layer=64, texttype=59))
scs130hd_mpr2ca_8.add(gdstk.Label('VNB', (0.695,5.435), layer=64, texttype=59))
scs130hd_mpr2ca_8.add(gdstk.Label('VPB', (0.685,2.715), layer=64, texttype=5))

sky130_osu_single_mpr2ca = lib.new_cell('sky130_osu_single_mpr2ca_8_b0r1')
R(sky130_osu_single_mpr2ca, nwell, [(-0.19,1.305,18.13,2.69), (0.04,2.69,0.12,2.805), (3.95,2.69,18.13,4.135), (2.275,3.57,2.645,3.575), (2.285,3.575,2.655,3.63), (0.58,3.72,0.95,3.775), (2.285,3.91,2.635,3.945), (0.58,4.065,0.92,4.09)])
R(sky130_osu_single_mpr2ca, li1_pin, [(17.38,0.825,17.61,1.575), (17.38,3.865,17.61,4.615)])
R(sky130_osu_single_mpr2ca, li1, [(0,-0.085,4.285,0.085), (11.18,0.55,11.35,0.72), (17.38,0.825,17.61,1.575), (13.135,0.895,13.305,1.065), (11.95,1.075,12.12,1.245), (15.56,1.075,15.73,1.245), (16.225,1.105,16.94,1.275), (13.495,1.46,13.665,1.63), (0.04,2.635,0.12,2.805), (2.35,3.655,2.52,3.68), (2.35,3.68,2.525,3.85), (0.675,3.81,0.845,3.98), (13.495,3.81,13.665,3.98), (2.35,3.85,2.52,3.91), (17.38,3.865,17.61,4.615), (16.18,4.13,16.92,4.295), (3.885,4.185,4.055,4.355), (11.95,4.195,12.12,4.365), (15.58,4.195,15.75,4.365), (16.18,4.295,16.895,4.3), (13.135,4.375,13.305,4.545), (11.215,4.73,11.385,4.9), (1.875,5.17,2.15,5.41), (0.04,5.355,0.12,5.525)])
R(sky130_osu_single_mpr2ca, mcon, [(11.18,0.55,11.35,0.72), (13.135,0.895,13.305,1.065), (11.95,1.075,12.12,1.245), (15.56,1.075,15.73,1.245), (13.495,1.46,13.665,1.63), (2.355,3.68,2.525,3.85), (0.675,3.81,0.845,3.98), (13.495,3.81,13.665,3.98), (3.885,4.185,4.055,4.355), (11.95,4.195,12.12,4.365), (15.58,4.195,15.75,4.365), (13.135,4.375,13.305,4.545), (11.215,4.73,11.385,4.9)])
R(sky130_osu_single_mpr2ca, met1_pin, [(0,-0.085,0.215,0.09), (0.04,2.635,0.12,2.805), (0.04,5.355,0.12,5.525)])
R(sky130_osu_single_mpr2ca, met1, [(0,-0.24,4.23,-0.085), (0,-0.085,4.285,0.085), (0,0.085,4.23,0.24), (12.285,0.4,15.73,0.55), (11.12,0.52,11.38,0.55), (11.12,0.55,15.73,0.57), (11.12,0.57,12.455,0.72), (15.56,0.57,15.73,1.045), (11.12,0.72,11.38,0.75), (13.015,0.81,13.355,1.15), (11.88,0.995,12.2,1.315), (15.53,1.045,15.76,1.28), (15.56,1.28,15.73,1.305), (10.005,1.4,10.345,1.74), (13.465,1.4,13.805,1.74), (0.04,2.635,0.12,2.805), (2.285,3.575,2.655,3.945), (13.42,3.67,13.76,4.01), (0.58,3.72,0.95,4.09), (3.815,4.08,4.185,4.45), (11.865,4.115,12.205,4.455), (15.58,4.135,15.75,4.165), (15.545,4.165,15.795,4.4), (13,4.275,13.34,4.615), (15.58,4.4,15.75,4.425), (15.58,4.425,15.745,4.885), (11.215,4.67,11.385,4.69), (11.155,4.69,11.435,4.885), (11.155,4.885,15.745,4.935), (11.295,4.935,15.745,5.05), (6.57,5.06,6.815,5.33), (0.04,5.355,0.12,5.525)])
R(sky130_osu_single_mpr2ca, via, [(13.11,0.905,13.26,1.055), (11.965,1.08,12.115,1.23), (10.1,1.495,10.25,1.645), (13.56,1.495,13.71,1.645), (2.395,3.685,2.545,3.835), (13.515,3.765,13.665,3.915), (0.69,3.83,0.84,3.98), (3.925,4.19,4.075,4.34), (11.96,4.21,12.11,4.36), (13.095,4.37,13.245,4.52)])
R(sky130_osu_single_mpr2ca, met2, [(10.295,0.37,13.8,0.51), (10.295,0.51,10.435,1.4), (13.66,0.51,13.8,1.4), (13,0.795,13.37,0.9), (12.645,0.9,13.37,1.07), (11.865,0.98,12.235,1.35), (12.645,1.07,12.815,3.67), (13,1.07,13.37,1.165), (11.975,1.35,12.145,4.115), (10.005,1.4,10.435,1.695), (13.465,1.4,13.805,1.74), (10.005,1.695,10.345,1.74), (13.615,1.74,13.805,3.17), (13.615,3.17,14.275,3.36), (14.085,3.36,14.275,4.405), (2.285,3.575,2.655,3.945), (12.645,3.67,13.76,3.84), (0.58,3.72,0.95,4.09), (13.42,3.84,13.76,4.01), (3.815,4.08,4.185,4.45), (11.865,4.115,12.205,4.455), (13,4.275,13.34,4.405), (13,4.405,14.275,4.595), (13,4.595,13.34,4.615)])
R(sky130_osu_single_mpr2ca, via2, [(13.085,0.88,13.285,1.08), (11.95,1.065,12.15,1.265), (2.37,3.66,2.57,3.86), (0.665,3.805,0.865,4.005), (3.9,4.165,4.1,4.365)])
R(sky130_osu_single_mpr2ca, met3_pin, [(11.95,1.075,12.12,1.245), (2.33,3.62,2.61,3.9)])
R(sky130_osu_single_mpr2ca, met3, [(0.91,-0.06,1.21,-0.025), (0.91,-0.025,12.24,0.275), (0.91,0.275,1.21,3.72), (11.93,0.275,12.23,0.98), (12.99,0.79,13.37,0.825), (2.235,0.8,2.615,1.18), (12.73,0.825,13.635,1.135), (11.865,0.98,12.235,1.35), (12.99,1.135,13.37,1.17), (2.265,1.18,2.565,3.575), (8.91,2.33,9.24,4.395), (2.265,3.575,2.655,3.755), (0.58,3.72,1.21,3.755), (0.58,3.755,1.255,4.055), (2.285,3.755,2.655,3.945), (0.58,4.055,0.95,4.09), (3.815,4.08,4.185,4.1), (3.815,4.1,7.15,4.4), (7.495,4.11,8.31,4.39), (7.495,4.39,8.295,4.41), (3.815,4.4,4.185,4.45)])
R(sky130_osu_single_mpr2ca, via3, [(13.08,0.88,13.28,1.08), (2.325,0.89,2.525,1.09)])
R(sky130_osu_single_mpr2ca, met4, [(12.99,0.79,13.37,0.835), (2.235,0.8,2.615,0.835), (2.235,0.835,13.37,1.14), (2.235,1.14,2.615,1.18), (12.99,1.14,13.37,1.17)])
R(sky130_osu_single_mpr2ca, hvtp, [(11.765,2.47,12.18,2.665), (11.255,2.665,12.18,2.775), (15.6,2.665,16.11,2.775), (16.98,2.665,17.49,2.775), (11.765,2.775,12.18,2.97)])
R(sky130_osu_single_mpr2ca, nsdm, [(11.01,0.11,11.05,1.01)])
R(sky130_osu_single_mpr2ca, psdm, [(10.95,1.36,11.05,2.61), (3.755,2.53,4.15,2.61), (3.755,2.61,4.615,2.83), (10.575,2.61,11.97,2.83), (15.395,2.61,16.315,2.83), (16.775,2.61,17.695,2.83), (4.13,2.83,4.615,2.91), (10.575,2.83,11.05,2.91)])
sky130_osu_single_mpr2ca.add(gdstk.Reference(sky130_fd_sc_hd__mux2_1, (11.04,0)))
sky130_osu_single_mpr2ca.add(gdstk.Reference(sky130_fd_sc_hd__mux2_1, (4.14,5.44), rotation=pi))
sky130_osu_single_mpr2ca.add(gdstk.Reference(sky130_fd_sc_hd__mux2_1, (11.04,5.44), x_reflection=True))
sky130_osu_single_mpr2ca.add(gdstk.Reference(sky130_fd_sc_hd__inv_1, (15.18,0)))
sky130_osu_single_mpr2ca.add(gdstk.Reference(sky130_fd_sc_hd__inv_1, (16.56,5.44), x_reflection=True))
sky130_osu_single_mpr2ca.add(gdstk.Reference(sky130_fd_sc_hd__inv_1, (15.18,5.44), x_reflection=True))
sky130_osu_single_mpr2ca.add(gdstk.Reference(sky130_fd_sc_hd__inv_1, (16.56,0)))
sky130_osu_single_mpr2ca.add(gdstk.Reference(scs130hd_mpr2ca_8, (4.14,0)))
sky130_osu_single_mpr2ca.add(gdstk.Label('Y1', (17.495,1.2), layer=67, texttype=5))
sky130_osu_single_mpr2ca.add(gdstk.Label('Y0', (17.495,4.24), layer=67, texttype=5))
sky130_osu_single_mpr2ca.add(gdstk.Label('sel', (12.035,1.16), layer=70, texttype=5))
sky130_osu_single_mpr2ca.add(gdstk.Label('GND', (0.08,5.44), layer=68, texttype=5))
sky130_osu_single_mpr2ca.add(gdstk.Label('GND', (0.107,0.002), layer=68, texttype=5))
sky130_osu_single_mpr2ca.add(gdstk.Label('VDD', (0.08,2.72), layer=68, texttype=5))
sky130_osu_single_mpr2ca.add(gdstk.Label('in', (2.47,3.76), layer=70, texttype=5))

lib.write_gds('sky130_osu_single_mpr2ca_8_b0r1.gds')
